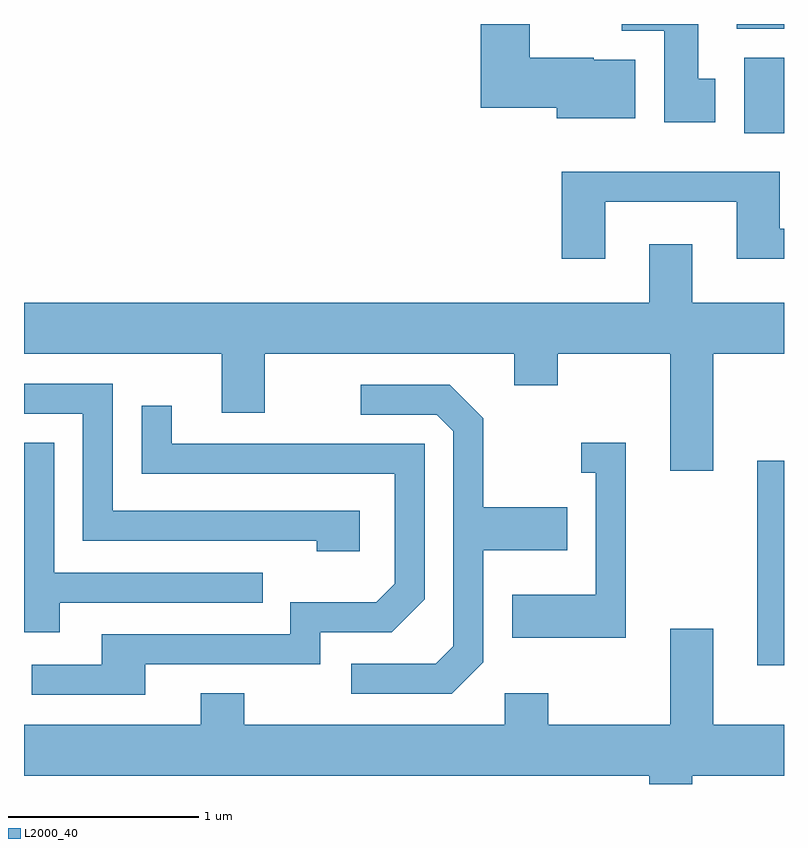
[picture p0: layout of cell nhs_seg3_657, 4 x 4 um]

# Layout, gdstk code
import gdstk
lib = gdstk.Library(unit=1e-6, precision=1e-09)
def R(c, l, rs):  # rectangles x0, y0, x1, y1
    for r in rs: c.add(gdstk.rectangle(r[:2], r[2:], *l))
def P(c, l, *ps):  # polygons
    for p in ps: c.add(gdstk.Polygon(p, *l))
L2000_40 = (2000, 40)

nhs_seg3_657 = lib.new_cell('nhs_seg3_657')
R(nhs_seg3_657, L2000_40, [(207.471,1206.516,207.611,1207.594), (207.401,1209.316,207.611,1209.714), (207.361,1209.866,207.611,1209.892)])
P(nhs_seg3_657, L2000_40, [(207.249,1209.604),(207.159,1209.604),(207.159,1209.892),(206.756,1209.892),(206.756,1209.856),(206.981,1209.856),(206.981,1209.376),(207.249,1209.376)],
  [(206.829,1209.704),(206.61,1209.704),(206.61,1209.714),(206.274,1209.714),(206.274,1209.892),(206.016,1209.892),(206.016,1209.451),(206.416,1209.451),(206.416,1209.396),(206.829,1209.396)],
  [(206.669,1208.956),(207.361,1208.956),(207.361,1208.656),(207.611,1208.656),(207.611,1208.814),(207.589,1208.814),(207.589,1209.114),(206.441,1209.114),(206.441,1208.656),(206.669,1208.656)],
  [(207.239,1208.156),(207.611,1208.156),(207.611,1208.424),(207.129,1208.424),(207.129,1208.734),(206.901,1208.734),(206.901,1208.424),(203.611,1208.424),(203.611,1208.156),(204.651,1208.156),(204.651,1207.846),(204.879,1207.846),(204.879,1208.156),(206.191,1208.156),(206.191,1207.991),(206.419,1207.991),(206.419,1208.156),(207.011,1208.156),(207.011,1207.541),(207.239,1207.541)],
  [(205.379,1207.329),(204.079,1207.329),(204.079,1207.999),(203.611,1207.999),(203.611,1207.841),(203.921,1207.841),(203.921,1207.171),(205.151,1207.171),(205.151,1207.116),(205.379,1207.116)],
  [(206.029,1206.534),(206.029,1207.121),(206.469,1207.121),(206.469,1207.349),(206.029,1207.349),(206.029,1207.817),(205.852,1207.994),(205.383,1207.994),(205.383,1207.836),(205.784,1207.836),(205.871,1207.749),(205.871,1206.617),(205.779,1206.524),(205.333,1206.524),(205.333,1206.366),(205.862,1206.366)],
  [(204.249,1206.521),(205.169,1206.521),(205.169,1206.691),(205.547,1206.691),(205.719,1206.864),(205.719,1207.684),(204.389,1207.684),(204.389,1207.883),(204.231,1207.883),(204.231,1207.526),(205.561,1207.526),(205.561,1206.947),(205.464,1206.849),(205.011,1206.849),(205.011,1206.679),(204.021,1206.679),(204.021,1206.519),(203.653,1206.519),(203.653,1206.361),(204.249,1206.361)],
  [(203.799,1206.846),(204.868,1206.846),(204.868,1207.004),(203.769,1207.004),(203.769,1207.689),(203.611,1207.689),(203.611,1206.691),(203.799,1206.691)],
  [(206.779,1207.689),(206.543,1207.689),(206.543,1207.531),(206.621,1207.531),(206.621,1206.889),(206.181,1206.889),(206.181,1206.661),(206.779,1206.661)],
  [(207.129,1205.936),(207.611,1205.936),(207.611,1206.204),(207.239,1206.204),(207.239,1206.709),(207.011,1206.709),(207.011,1206.204),(206.369,1206.204),(206.369,1206.369),(206.141,1206.369),(206.141,1206.204),(204.769,1206.204),(204.769,1206.369),(204.541,1206.369),(204.541,1206.204),(203.611,1206.204),(203.611,1205.936),(206.901,1205.936),(206.901,1205.892),(207.129,1205.892)])

lib.write_gds('nhs_seg3_657.gds')
